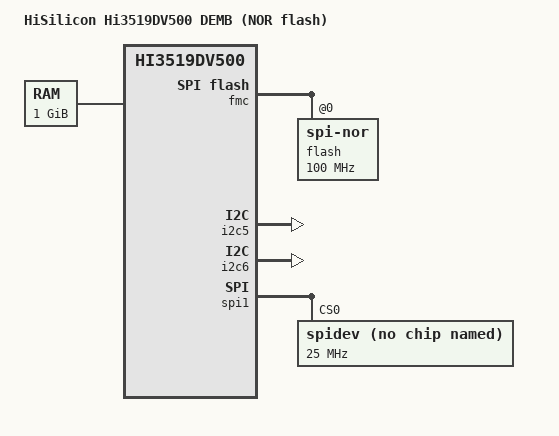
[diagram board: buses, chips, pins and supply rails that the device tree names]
// SPDX-License-Identifier: GPL-2.0-only OR BSD-2-Clause

/dts-v1/;

#include "hi3519dv500-demb.dtsi"

/ {
	model = "HiSilicon Hi3519DV500 DEMB (NOR flash)";
	compatible = "hisilicon,hi3519dv500-demb", "hisilicon,hi3519dv500";

	aliases {
		serial0 = &uart0;

		i2c0 = &i2c0;
		i2c1 = &i2c1;
		i2c2 = &i2c2;
		i2c3 = &i2c3;
		i2c4 = &i2c4;
		i2c5 = &i2c5;
		i2c6 = &i2c6;
	};

	chosen {
		stdout-path = "serial0:115200n8";
		/*
		 * U-Boot rewrites this property in place with strlcpy() using
		 * its "bootargs" environment variable.  The property must be
		 * large enough for that value, otherwise the write overruns
		 * into the following FDT structure block and the kernel fails
		 * early_init_dt_scan() before the console is up.
		 * Reserve COMMAND_LINE_SIZE (1024) bytes.
		 */
		bootargs = "earlycon=pl011,0x11040000 console=ttyAMA0,115200 bootargs-placeholder-bootargs-placeholder-bootargs-placeholder-bootargs-placeholder-bootargs-placeholder-bootargs-placeholder-bootargs-placeholder-bootargs-placeholder-bootargs-placeholder-bootargs-placeholder-bootargs-placeholder-bootargs-placeholder-bootargs-placeholder-bootargs-placeholder-bootargs-placeholder-bootargs-placeholder-bootargs-placeholder-bootargs-placeholder-bootargs-placeholder-bootargs-placeholder-bootargs-placeholder-bootargs-placeholder-bootargs-placeholder-bootargs-placeholder-bootargs-placeholder-bootargs-placeholder-bootargs-placeholder-bootargs-placeholder-bootargs-placeholder-bootargs-placeholder-bootargs-placeholder-bootargs-placeholder-bootargs-placeholder-bootargs-placeholder-bootargs-placeholder-bootargs-placeholder-bootargs-placeholder-bootargs-placeholder-bootargs-placeholder-bootargs-placeholder-bootargs-placeholder-bootargs-placeholder-bootargs-placeholder-bootargs-placeholder-bootargs-placeholder-bootargs-placeholder-bootargs";
	};

	memory@40030000 {
		device_type = "memory";
		reg = <0x0 0x40030000 0x0 0x40000000>;
	};
};

&fmc {
	status = "okay";

	flash@0 {
		compatible = "jedec,spi-nor";
		reg = <0>;
		spi-max-frequency = <100000000>;
	};
};

&i2c5 {
	status = "okay";
};

&i2c6 {
	status = "okay";
};

&spi1 {
	status = "okay";

	spidev@0 {
		compatible = "rohm,dh2228fv";
		reg = <0>;
		spi-max-frequency = <25000000>;
	};
};
